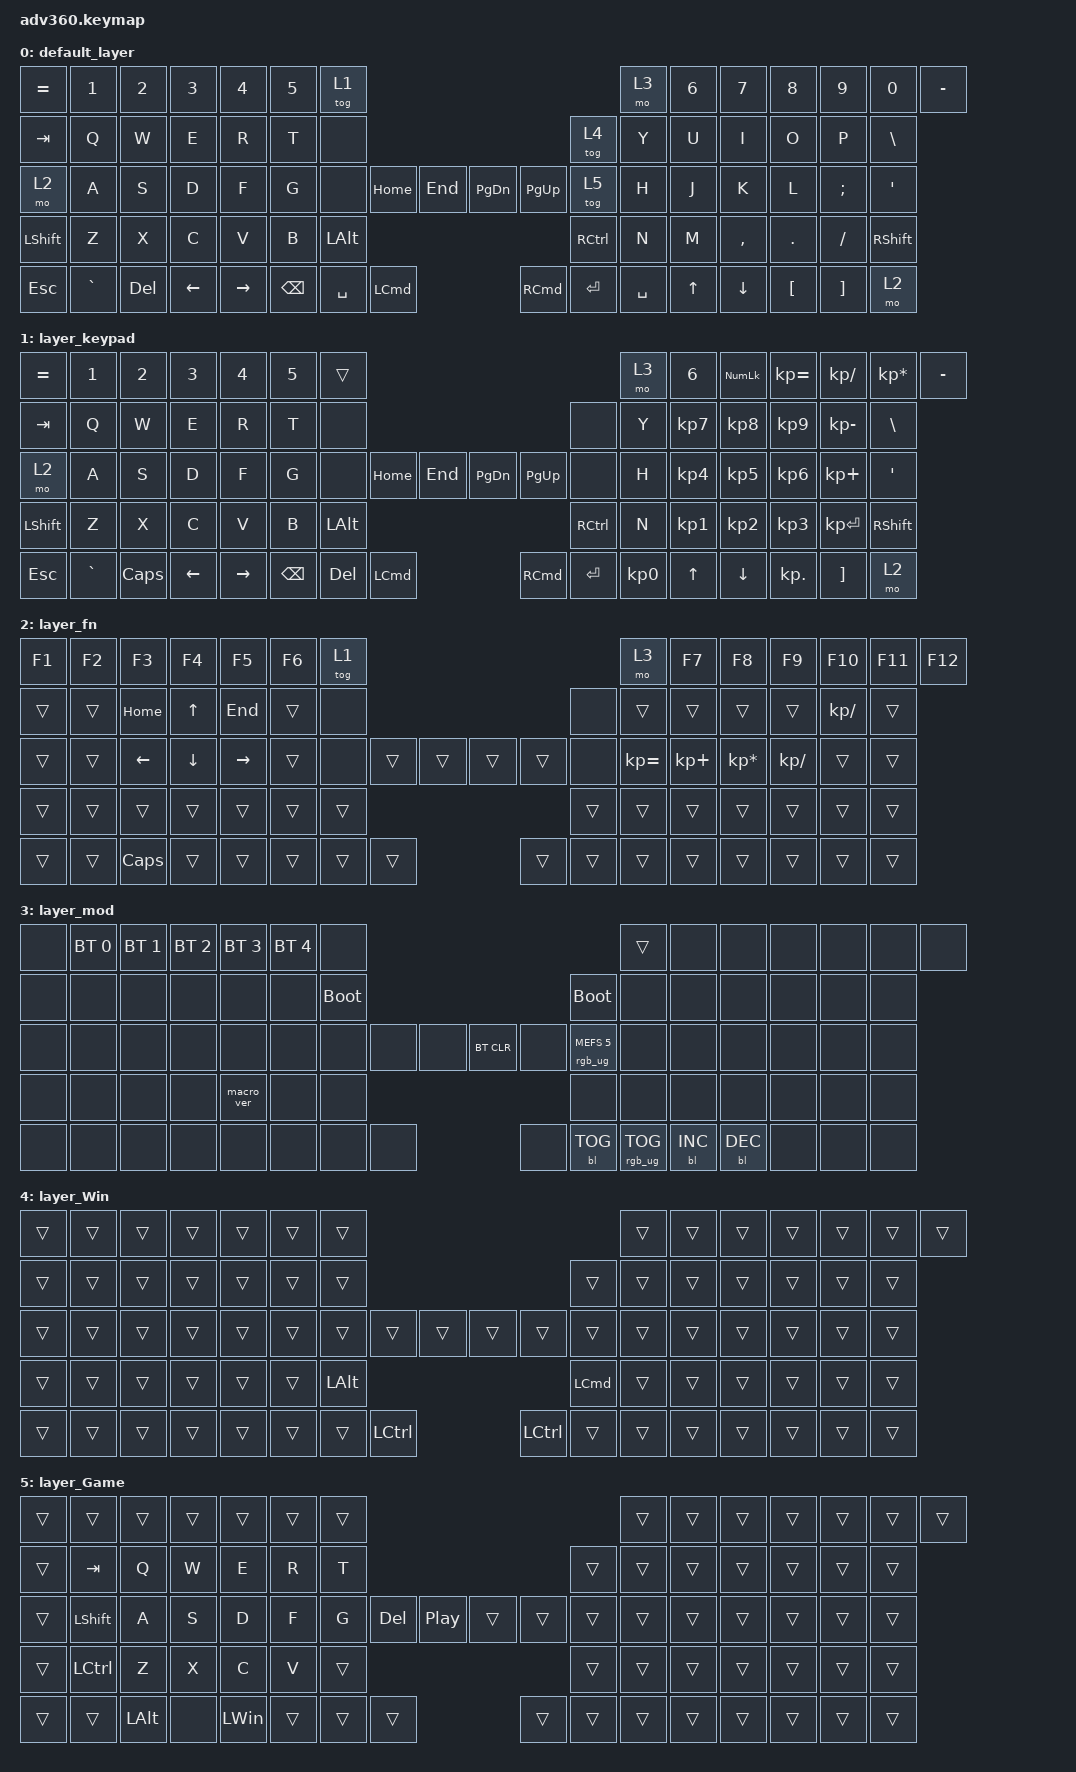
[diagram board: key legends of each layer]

/*
 * Copyright (c) 2020 The ZMK Contributors
 *
 * SPDX-License-Identifier: MIT
 */


/* THIS FILE WAS GENERATED!
 *
 * This file was generated automatically. You may or may not want to
 * edit it directly.
 */

#include <behaviors.dtsi>
#include <dt-bindings/zmk/keys.h>
#include <dt-bindings/zmk/bt.h>
#include <dt-bindings/zmk/rgb.h>
#include <dt-bindings/zmk/backlight.h>

/ {
  behaviors {
    #include "macros.dtsi"
    #include "version.dtsi"

    hm: homerow_mods {
        compatible = "zmk,behavior-hold-tap";
        label = "HOMEROW_MODS";
        #binding-cells = <2>;
        tapping-term-ms = <200>;
        quick_tap_ms = <175>;
        flavor = "tap-preferred";
        bindings = <&kp>, <&kp>;
    };
  };

    keymap {
        compatible = "zmk,keymap";


        default_layer {
            bindings = <
 &kp EQUAL     &kp N1      &kp N2    &kp N3     &kp N4  &kp N5                   &tog 1                                                                                 &mo 3  &kp N6  &kp N7     &kp N8    &kp N9    &kp N0  &kp MINUS
   &kp TAB      &kp Q       &kp W     &kp E      &kp R   &kp T                    &none                                                                                &tog 4   &kp Y   &kp U      &kp I     &kp O     &kp P   &kp BSLH
     &mo 2      &kp A       &kp S     &kp D      &kp F   &kp G                    &none   &kp HOME           &kp END                      &kp PAGE_DOWN  &kp PG_UP     &tog 5   &kp H   &kp J      &kp K     &kp L  &kp SEMI    &kp SQT
 &kp LSHFT      &kp Z       &kp X     &kp C      &kp V   &kp B                                          &kp LEFT_ALT                          &kp RCTRL                         &kp N   &kp M  &kp COMMA   &kp DOT  &kp FSLH  &kp RSHFT
   &kp ESC  &kp GRAVE  &kp DELETE  &kp LEFT  &kp RIGHT                    &kp BACKSPACE  &kp SPACE  &kp LEFT_COMMAND                  &kp RIGHT_COMMAND  &kp ENTER  &kp SPACE          &kp UP   &kp DOWN  &kp LBKT  &kp RBKT      &mo 2
            >;
        };

        layer_keypad {
            bindings = <
 &kp EQUAL     &kp N1    &kp N2    &kp N3     &kp N4  &kp N5              &trans                                                                        &mo 3  &kp N6  &kp KP_NUM  &kp KP_EQUAL  &kp KP_DIVIDE  &kp KP_MULTIPLY  &kp MINUS
   &kp TAB      &kp Q     &kp W     &kp E      &kp R   &kp T               &none                                                                        &none   &kp Y   &kp KP_N7     &kp KP_N8      &kp KP_N9     &kp KP_MINUS   &kp BSLH
     &mo 2      &kp A     &kp S     &kp D      &kp F   &kp G               &none  &kp HOME       &kp END                  &kp PAGE_DOWN  &kp PG_UP      &none   &kp H   &kp KP_N4     &kp KP_N5      &kp KP_N6      &kp KP_PLUS    &kp SQT
 &kp LSHFT      &kp Z     &kp X     &kp C      &kp V   &kp B                                &kp LEFT_ALT                      &kp RCTRL                         &kp N   &kp KP_N1     &kp KP_N2      &kp KP_N3     &kp KP_ENTER  &kp RSHFT
   &kp ESC  &kp GRAVE  &kp CAPS  &kp LEFT  &kp RIGHT                    &kp BSPC   &kp DEL      &kp LCMD                       &kp RCMD  &kp ENTER  &kp KP_N0              &kp UP      &kp DOWN     &kp KP_DOT         &kp RBKT      &mo 2
            >;
        };

        layer_fn {
            bindings = <
 &kp F1  &kp F2    &kp F3    &kp F4     &kp F5  &kp F6            &tog 1                                                   &mo 3        &kp F7       &kp F8           &kp F9        &kp F10        &kp F11  &kp F12
 &trans  &trans  &kp HOME    &kp UP    &kp END  &trans             &none                                                   &none        &trans       &trans           &trans         &trans  &kp KP_DIVIDE   &trans
 &trans  &trans  &kp LEFT  &kp DOWN  &kp RIGHT  &trans             &none  &trans  &trans                  &trans  &trans   &none  &kp KP_EQUAL  &kp KP_PLUS  &kp KP_MULTIPLY  &kp KP_DIVIDE         &trans   &trans
 &trans  &trans    &trans    &trans     &trans  &trans                            &trans                  &trans                        &trans       &trans           &trans         &trans         &trans   &trans
 &trans  &trans  &kp CAPS    &trans     &trans                    &trans  &trans  &trans                  &trans  &trans  &trans                     &trans           &trans         &trans         &trans   &trans
            >;
        };

        layer_mod {
            bindings = <
  &none  &bt BT_SEL 0  &bt BT_SEL 1  &bt BT_SEL 2  &bt BT_SEL 3  &bt BT_SEL 4                  &none                                                                          &trans   &none       &none       &none   &none   &none   &none
  &none         &none         &none         &none         &none         &none            &bootloader                                                                     &bootloader   &none       &none       &none   &none   &none   &none
  &none         &none         &none         &none         &none         &none                  &none   &none   &none                  &bt BT_CLR       &none  &rgb_ug RGB_MEFS_CMD 5   &none       &none       &none   &none   &none   &none
  &none         &none         &none         &none    &macro_ver         &none                                  &none                       &none                                       &none       &none       &none   &none   &none   &none
  &none         &none         &none         &none         &none                                &none   &none   &none                       &none  &bl BL_TOG         &rgb_ug RGB_TOG          &bl BL_INC  &bl BL_DEC   &none   &none   &none
            >;
        };

        layer_Win {
            bindings = <
 &trans  &trans  &trans  &trans  &trans  &trans            &trans                                                                  &trans  &trans  &trans  &trans  &trans  &trans  &trans
 &trans  &trans  &trans  &trans  &trans  &trans            &trans                                                                  &trans  &trans  &trans  &trans  &trans  &trans  &trans
 &trans  &trans  &trans  &trans  &trans  &trans            &trans  &trans        &trans                            &trans  &trans  &trans  &trans  &trans  &trans  &trans  &trans  &trans
 &trans  &trans  &trans  &trans  &trans  &trans                            &kp LEFT_ALT                          &kp LCMD                  &trans  &trans  &trans  &trans  &trans  &trans
 &trans  &trans  &trans  &trans  &trans                    &trans  &trans     &kp LCTRL                  &kp LEFT_CONTROL  &trans  &trans          &trans  &trans  &trans  &trans  &trans
            >;
        };

        layer_Game {
            bindings = <
 &trans          &trans        &trans  &trans        &trans  &trans            &trans                                                             &trans  &trans  &trans  &trans  &trans  &trans  &trans
 &trans         &kp TAB         &kp Q   &kp W         &kp E   &kp R             &kp T                                                             &trans  &trans  &trans  &trans  &trans  &trans  &trans
 &trans  &kp LEFT_SHIFT         &kp A   &kp S         &kp D   &kp F             &kp G  &kp DEL  &kp C_PLAY_PAUSE                  &trans  &trans  &trans  &trans  &trans  &trans  &trans  &trans  &trans
 &trans       &kp LCTRL         &kp Z   &kp X         &kp C   &kp V                                       &trans                  &trans                  &trans  &trans  &trans  &trans  &trans  &trans
 &trans          &trans  &kp LEFT_ALT   &none  &kp LEFT_WIN                    &trans   &trans            &trans                  &trans  &trans  &trans          &trans  &trans  &trans  &trans  &trans
            >;
        };

    };
};
